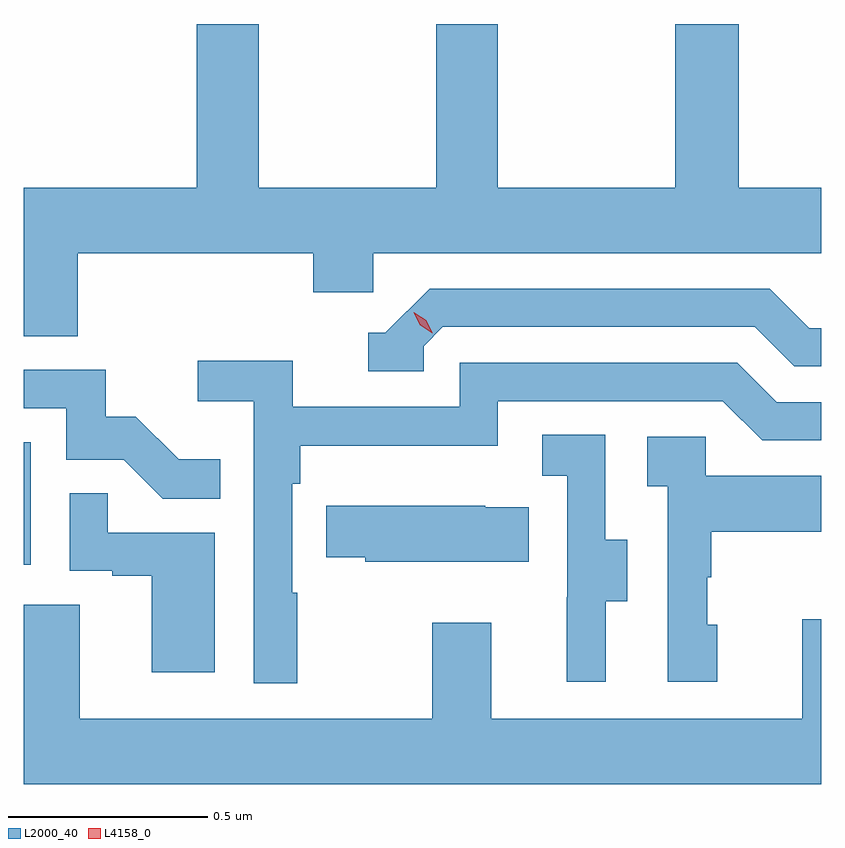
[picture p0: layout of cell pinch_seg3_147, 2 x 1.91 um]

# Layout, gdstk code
import gdstk
lib = gdstk.Library(unit=1e-6, precision=1e-09)
def R(c, l, rs):  # rectangles x0, y0, x1, y1
    for r in rs: c.add(gdstk.rectangle(r[:2], r[2:], *l))
def P(c, l, *ps):  # polygons
    for p in ps: c.add(gdstk.Polygon(p, *l))
L2000_40 = (2000, 40)
L4158_0 = (4158, 0)

pinch_seg3_147 = lib.new_cell('pinch_seg3_147')
R(pinch_seg3_147, L2000_40, [(1125.617,726.774,1125.634,727.081)])
P(pinch_seg3_147, L2000_40, [(1125.752,727.556),(1126.343,727.556),(1126.343,727.458),(1126.494,727.458),(1126.494,727.556),(1127.617,727.556),(1127.617,727.72),(1127.411,727.72),(1127.411,728.131),(1127.251,728.131),(1127.251,727.72),(1126.806,727.72),(1126.806,728.131),(1126.651,728.131),(1126.651,727.72),(1126.206,727.72),(1126.206,728.131),(1126.051,728.131),(1126.051,727.72),(1125.617,727.72),(1125.617,727.348),(1125.752,727.348)],
  [(1126.62,727.323),(1126.668,727.371),(1127.451,727.371),(1127.55,727.272),(1127.617,727.272),(1127.617,727.368),(1127.587,727.368),(1127.488,727.467),(1126.635,727.467),(1126.524,727.356),(1126.481,727.356),(1126.481,727.26),(1126.62,727.26)],
  [(1126.303,726.704),(1126.29,726.704),(1126.29,726.977),(1126.31,726.977),(1126.31,727.073),(1126.806,727.073),(1126.806,727.185),(1127.37,727.185),(1127.469,727.086),(1127.617,727.086),(1127.617,727.182),(1127.506,727.182),(1127.407,727.281),(1126.71,727.281),(1126.71,727.17),(1126.292,727.17),(1126.292,727.286),(1126.053,727.286),(1126.053,727.184),(1126.194,727.184),(1126.194,726.477),(1126.303,726.477)],
  [(1126.109,727.039),(1126.005,727.039),(1125.898,727.146),(1125.822,727.146),(1125.822,727.263),(1125.617,727.263),(1125.617,727.167),(1125.723,727.167),(1125.723,727.038),(1125.867,727.038),(1125.965,726.94),(1126.109,726.94)],
  [(1127.077,726.682),(1127.131,726.682),(1127.131,726.837),(1127.076,726.837),(1127.076,727.1),(1126.917,727.1),(1126.917,726.997),(1126.98,726.997),(1126.98,726.693),(1126.979,726.693),(1126.979,726.48),(1127.077,726.48)],
  [(1127.356,726.624),(1127.331,726.624),(1127.331,726.743),(1127.341,726.743),(1127.341,726.857),(1127.617,726.857),(1127.617,726.997),(1127.328,726.997),(1127.328,727.095),(1127.181,727.095),(1127.181,726.971),(1127.232,726.971),(1127.232,726.48),(1127.356,726.48)],
  [(1126.096,726.855),(1125.827,726.855),(1125.827,726.953),(1125.732,726.953),(1125.732,726.759),(1125.839,726.759),(1125.839,726.747),(1125.938,726.747),(1125.938,726.504),(1126.096,726.504)],
  [(1126.883,726.919),(1126.775,726.919),(1126.775,726.922),(1126.375,726.922),(1126.375,726.793),(1126.473,726.793),(1126.473,726.782),(1126.883,726.782)],
  [(1127.617,726.637),(1127.57,726.637),(1127.57,726.388),(1126.789,726.388),(1126.789,726.628),(1126.642,726.628),(1126.642,726.388),(1125.757,726.388),(1125.757,726.674),(1125.617,726.674),(1125.617,726.224),(1127.617,726.224)])
P(pinch_seg3_147, L4158_0, [(1126.642,727.355),(1126.611,727.375),(1126.595,727.407),(1126.595,727.408),(1126.595,727.408),(1126.626,727.388),(1126.642,727.356),(1126.642,727.355)])

lib.write_gds('pinch_seg3_147.gds')
